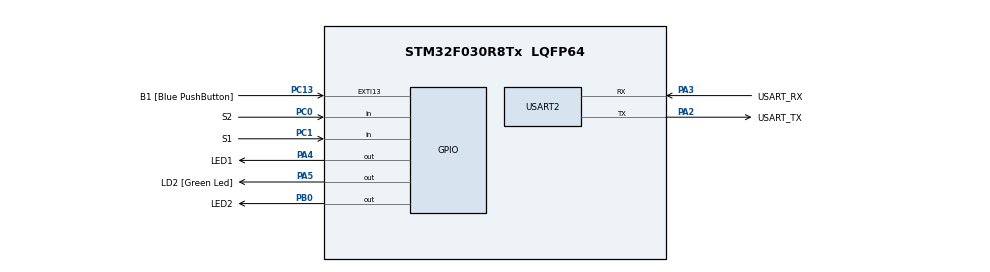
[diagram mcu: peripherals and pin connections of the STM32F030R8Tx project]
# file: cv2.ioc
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Mcu.Family=STM32F0
Mcu.Name=STM32F030R8Tx
Mcu.Package=LQFP64
PA13.GPIO_Label=TMS
PA13.Mode=Serial_Wire
PA13.Signal=SYS_SWDIO
PA14.GPIO_Label=TCK
PA14.Mode=Serial_Wire
PA14.Signal=SYS_SWCLK
PA2.GPIO_Label=USART_TX
PA2.GPIO_Mode=GPIO_MODE_AF_PP
PA2.GPIO_PuPd=GPIO_NOPULL
PA2.GPIO_Speed=GPIO_SPEED_FREQ_LOW
PA2.Mode=Asynchronous
PA2.Signal=USART2_TX
PA3.GPIO_Label=USART_RX
PA3.GPIO_Mode=GPIO_MODE_AF_PP
PA3.GPIO_PuPd=GPIO_NOPULL
PA3.GPIO_Speed=GPIO_SPEED_FREQ_LOW
PA3.Mode=Asynchronous
PA3.Signal=USART2_RX
PA4.GPIO_Label=LED1
PA4.Signal=GPIO_Output
PA5.GPIO_Label=LD2 [Green Led]
PA5.GPIO_Mode=GPIO_MODE_OUTPUT_PP
PA5.GPIO_PuPd=GPIO_NOPULL
PA5.GPIO_Speed=GPIO_SPEED_FREQ_LOW
PA5.Signal=GPIO_Output
PB0.GPIO_Label=LED2
PB0.Signal=GPIO_Output
PC0.GPIO_Label=S2
PC0.Signal=GPIO_Input
PC1.GPIO_Label=S1
PC1.GPIO_PuPd=GPIO_PULLUP
PC1.Signal=GPIO_Input
PC13.GPIO_Label=B1 [Blue PushButton]
PC13.GPIO_ModeDefaultEXTI=GPIO_MODE_IT_FALLING
PC13.Signal=GPXTI13
PC14-OSC32_IN.Mode=LSE-External-Oscillator
PC14-OSC32_IN.Signal=RCC_OSC32_IN
PC15-OSC32_OUT.Mode=LSE-External-Oscillator
PC15-OSC32_OUT.Signal=RCC_OSC32_OUT
PF0-OSC_IN.Mode=HSE-External-Clock-Source
PF0-OSC_IN.Signal=RCC_OSC_IN
PF1-OSC_OUT.Signal=RCC_OSC_OUT
ProjectManager.HeapSize=0x200
ProjectManager.StackSize=0x400
ProjectManager.TargetToolchain=STM32CubeIDE
RCC.AHBFreq_Value=48000000
RCC.APB1Freq_Value=48000000
RCC.APB1TimFreq_Value=48000000
RCC.HCLKFreq_Value=48000000
RCC.PLLMUL=RCC_PLL_MUL12
RCC.SYSCLKFreq_VALUE=48000000
RCC.SYSCLKSource=RCC_SYSCLKSOURCE_PLLCLK
USART2.VirtualMode-Asynchronous=VM_ASYNC
board=NUCLEO-F030R8

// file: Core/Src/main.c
/* USER CODE BEGIN Header */
/**
  ******************************************************************************
  * @file           : main.c
  * @brief          : Main program body
  ******************************************************************************
  * @attention
  *
  * Copyright (c) 2023 STMicroelectronics.
  * All rights reserved.
  *
  * This software is licensed under terms that can be found in the LICENSE file
  * in the root directory of this software component.
  * If no LICENSE file comes with this software, it is provided AS-IS.
  *
  ******************************************************************************
  */
/* USER CODE END Header */
#include "main.h"

/* USER CODE BEGIN PD */
#define LED_TIME_BLINK 300
#define LED_TIME_BLINK2 40
#define LED_TIME_BLINK3 5
#define LED_TIME_SHORT 100
#define LED_TIME_LONG 1000
/* USER CODE END PD */

void SystemClock_Config(void);
static void MX_GPIO_Init(void);
static void MX_USART2_UART_Init(void);

/* USER CODE BEGIN 0 */
volatile uint32_t Tick;

void blikac(void)
{
	static uint32_t delay;

	if (Tick > delay + LED_TIME_BLINK) {
		LL_GPIO_TogglePin(LED1_GPIO_Port,LED1_Pin);
		delay = Tick;
	}
}

void tlacitka(void) {
	static uint32_t old_s1;
	static uint32_t old_s2;
	static uint32_t off_time;
	static uint32_t delay;
	static uint16_t debounce = 0xFFFF;
	uint32_t new_s1 = LL_GPIO_IsInputPinSet(S1_GPIO_Port, S1_Pin);
	uint32_t new_s2 = LL_GPIO_IsInputPinSet(S2_GPIO_Port, S2_Pin);

	/* if (Tick > delay + LED_TIME_BLINK3) {
	 debounce <<= 1;
	 if (GPIOC->LL_GPIO)
	 debounce |= 0x0001;
	 if (debounce == 0x7FFF) {
	 }*/

	if (Tick > delay + LED_TIME_BLINK2) {
		if (old_s1 && !new_s1) { // falling edge
			off_time = Tick + LED_TIME_LONG;
			LL_GPIO_SetOutputPin(LED2_GPIO_Port, LED2_Pin);
		}
		if (old_s2 && !new_s2) { // falling edge
			off_time = Tick + LED_TIME_SHORT;
			LL_GPIO_SetOutputPin(LED2_GPIO_Port, LED2_Pin);
		}
		old_s1 = new_s1;
		old_s2 = new_s2;

		if (Tick > off_time) {
			LL_GPIO_ResetOutputPin(LED2_GPIO_Port, LED2_Pin);
		}
	}
//}
}

/* USER CODE END 0 */

int main(void)
{

  /* MCU Configuration--------------------------------------------------------*/

  /* Reset of all peripherals, Initializes the Flash interface and the Systick. */
  LL_APB1_GRP2_EnableClock(LL_APB1_GRP2_PERIPH_SYSCFG);
  LL_APB1_GRP1_EnableClock(LL_APB1_GRP1_PERIPH_PWR);

  /* Configure the system clock */
  SystemClock_Config();

  /* Initialize all configured peripherals */
  MX_GPIO_Init();
  MX_USART2_UART_Init();
  /* USER CODE BEGIN 2 */
  LL_SYSTICK_EnableIT();
  /* USER CODE END 2 */

  /* Infinite loop */
  /* USER CODE BEGIN WHILE */
  while (1)
  {
	  tlacitka();
	  blikac();
    /* USER CODE END WHILE */

  }
}

void SystemClock_Config(void)
{
  LL_FLASH_SetLatency(LL_FLASH_LATENCY_1);
  while(LL_FLASH_GetLatency() != LL_FLASH_LATENCY_1)
  {
  }
  LL_RCC_HSI_Enable();

   /* Wait till HSI is ready */
  while(LL_RCC_HSI_IsReady() != 1)
  {

  }
  LL_RCC_HSI_SetCalibTrimming(16);
  LL_RCC_PLL_ConfigDomain_SYS(LL_RCC_PLLSOURCE_HSI_DIV_2, LL_RCC_PLL_MUL_12);
  LL_RCC_PLL_Enable();

   /* Wait till PLL is ready */
  while(LL_RCC_PLL_IsReady() != 1)
  {

  }
  LL_RCC_SetAHBPrescaler(LL_RCC_SYSCLK_DIV_1);
  LL_RCC_SetAPB1Prescaler(LL_RCC_APB1_DIV_1);
  LL_RCC_SetSysClkSource(LL_RCC_SYS_CLKSOURCE_PLL);

   /* Wait till System clock is ready */
  while(LL_RCC_GetSysClkSource() != LL_RCC_SYS_CLKSOURCE_STATUS_PLL)
  {

  }
  LL_Init1msTick(48000000);
  LL_SetSystemCoreClock(48000000);
}

static void MX_USART2_UART_Init(void)
{

  LL_USART_InitTypeDef USART_InitStruct = {0};

  LL_GPIO_InitTypeDef GPIO_InitStruct = {0};

  /* Peripheral clock enable */
  LL_APB1_GRP1_EnableClock(LL_APB1_GRP1_PERIPH_USART2);

  LL_AHB1_GRP1_EnableClock(LL_AHB1_GRP1_PERIPH_GPIOA);
  /**USART2 GPIO Configuration
  PA2   ------> USART2_TX
  PA3   ------> USART2_RX
  */
  GPIO_InitStruct.Pin = USART_TX_Pin;
  GPIO_InitStruct.Mode = LL_GPIO_MODE_ALTERNATE;
  GPIO_InitStruct.Speed = LL_GPIO_SPEED_FREQ_LOW;
  GPIO_InitStruct.OutputType = LL_GPIO_OUTPUT_PUSHPULL;
  GPIO_InitStruct.Pull = LL_GPIO_PULL_NO;
  GPIO_InitStruct.Alternate = LL_GPIO_AF_1;
  LL_GPIO_Init(USART_TX_GPIO_Port, &GPIO_InitStruct);

  GPIO_InitStruct.Pin = USART_RX_Pin;
  GPIO_InitStruct.Mode = LL_GPIO_MODE_ALTERNATE;
  GPIO_InitStruct.Speed = LL_GPIO_SPEED_FREQ_LOW;
  GPIO_InitStruct.OutputType = LL_GPIO_OUTPUT_PUSHPULL;
  GPIO_InitStruct.Pull = LL_GPIO_PULL_NO;
  GPIO_InitStruct.Alternate = LL_GPIO_AF_1;
  LL_GPIO_Init(USART_RX_GPIO_Port, &GPIO_InitStruct);

  USART_InitStruct.BaudRate = 38400;
  USART_InitStruct.DataWidth = LL_USART_DATAWIDTH_8B;
  USART_InitStruct.StopBits = LL_USART_STOPBITS_1;
  USART_InitStruct.Parity = LL_USART_PARITY_NONE;
  USART_InitStruct.TransferDirection = LL_USART_DIRECTION_TX_RX;
  USART_InitStruct.HardwareFlowControl = LL_USART_HWCONTROL_NONE;
  USART_InitStruct.OverSampling = LL_USART_OVERSAMPLING_16;
  LL_USART_Init(USART2, &USART_InitStruct);
  LL_USART_DisableIT_CTS(USART2);
  LL_USART_ConfigAsyncMode(USART2);
  LL_USART_Enable(USART2);

}

static void MX_GPIO_Init(void)
{
  LL_EXTI_InitTypeDef EXTI_InitStruct = {0};
  LL_GPIO_InitTypeDef GPIO_InitStruct = {0};

  /* GPIO Ports Clock Enable */
  LL_AHB1_GRP1_EnableClock(LL_AHB1_GRP1_PERIPH_GPIOC);
  LL_AHB1_GRP1_EnableClock(LL_AHB1_GRP1_PERIPH_GPIOF);
  LL_AHB1_GRP1_EnableClock(LL_AHB1_GRP1_PERIPH_GPIOA);
  LL_AHB1_GRP1_EnableClock(LL_AHB1_GRP1_PERIPH_GPIOB);

  /**/
  LL_GPIO_ResetOutputPin(LED1_GPIO_Port, LED1_Pin);

  /**/
  LL_GPIO_ResetOutputPin(LD2_GPIO_Port, LD2_Pin);

  /**/
  LL_GPIO_ResetOutputPin(LED2_GPIO_Port, LED2_Pin);

  /**/
  LL_SYSCFG_SetEXTISource(LL_SYSCFG_EXTI_PORTC, LL_SYSCFG_EXTI_LINE13);

  /**/
  LL_GPIO_SetPinPull(B1_GPIO_Port, B1_Pin, LL_GPIO_PULL_NO);

  /**/
  LL_GPIO_SetPinMode(B1_GPIO_Port, B1_Pin, LL_GPIO_MODE_INPUT);

  /**/
  EXTI_InitStruct.Line_0_31 = LL_EXTI_LINE_13;
  EXTI_InitStruct.LineCommand = ENABLE;
  EXTI_InitStruct.Mode = LL_EXTI_MODE_IT;
  EXTI_InitStruct.Trigger = LL_EXTI_TRIGGER_FALLING;
  LL_EXTI_Init(&EXTI_InitStruct);

  /**/
  GPIO_InitStruct.Pin = S2_Pin;
  GPIO_InitStruct.Mode = LL_GPIO_MODE_INPUT;
  GPIO_InitStruct.Pull = LL_GPIO_PULL_UP;
  LL_GPIO_Init(S2_GPIO_Port, &GPIO_InitStruct);

  /**/
  GPIO_InitStruct.Pin = S1_Pin;
  GPIO_InitStruct.Mode = LL_GPIO_MODE_INPUT;
  GPIO_InitStruct.Pull = LL_GPIO_PULL_UP;
  LL_GPIO_Init(S1_GPIO_Port, &GPIO_InitStruct);

  /**/
  GPIO_InitStruct.Pin = LED1_Pin;
  GPIO_InitStruct.Mode = LL_GPIO_MODE_OUTPUT;
  GPIO_InitStruct.Speed = LL_GPIO_SPEED_FREQ_LOW;
  GPIO_InitStruct.OutputType = LL_GPIO_OUTPUT_PUSHPULL;
  GPIO_InitStruct.Pull = LL_GPIO_PULL_NO;
  LL_GPIO_Init(LED1_GPIO_Port, &GPIO_InitStruct);

  /**/
  GPIO_InitStruct.Pin = LD2_Pin;
  GPIO_InitStruct.Mode = LL_GPIO_MODE_OUTPUT;
  GPIO_InitStruct.Speed = LL_GPIO_SPEED_FREQ_LOW;
  GPIO_InitStruct.OutputType = LL_GPIO_OUTPUT_PUSHPULL;
  GPIO_InitStruct.Pull = LL_GPIO_PULL_NO;
  LL_GPIO_Init(LD2_GPIO_Port, &GPIO_InitStruct);

  /**/
  GPIO_InitStruct.Pin = LED2_Pin;
  GPIO_InitStruct.Mode = LL_GPIO_MODE_OUTPUT;
  GPIO_InitStruct.Speed = LL_GPIO_SPEED_FREQ_LOW;
  GPIO_InitStruct.OutputType = LL_GPIO_OUTPUT_PUSHPULL;
  GPIO_InitStruct.Pull = LL_GPIO_PULL_NO;
  LL_GPIO_Init(LED2_GPIO_Port, &GPIO_InitStruct);

}

void Error_Handler(void)
{
  __disable_irq();
  while (1)
  {
  }
}
